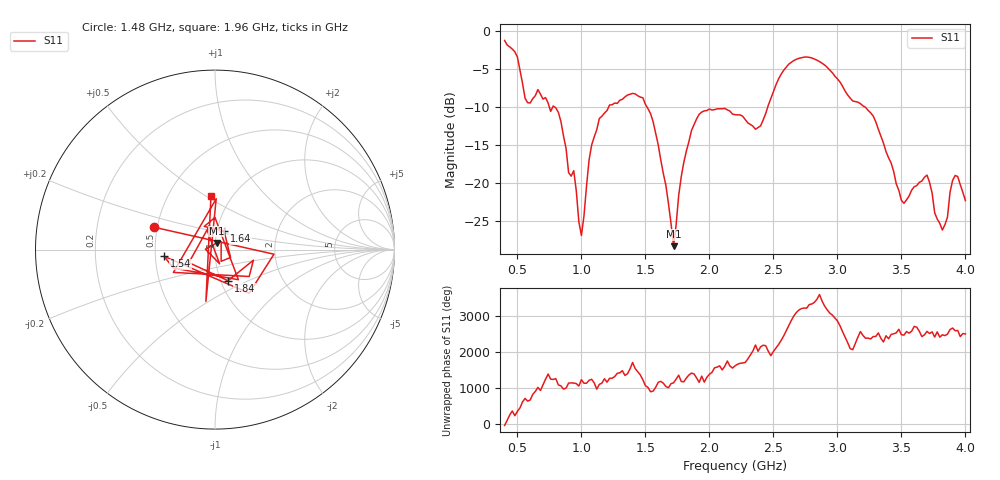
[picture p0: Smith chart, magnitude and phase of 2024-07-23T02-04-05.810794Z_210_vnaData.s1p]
!Created with skrf (http://scikit-rf.org).
# Hz S RI R 50.0
!freq ReS11 ImS11
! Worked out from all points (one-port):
!   181 points, 400 MHz to 4 GHz, reference 50 ohm
!   lowest |S11| = -28.2 dB at 1.72 GHz (marker M1), VSWR 1.08, Z = 50.9 + j3.81 ohm
!   |S11| at or under -10 dB: 791.3 MHz to 1.213 GHz (421.5 MHz wide, 42.1 % of centre); 1.513 GHz to 2.456 GHz (943.2 MHz wide, 47.5 % of centre); 3.216 GHz to end of sweep (the widest 3 of 4)
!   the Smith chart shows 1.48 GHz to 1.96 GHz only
!   S11 on the Smith chart (normalised r, x): 1.48 GHz: 0.48, +0.14; 1.54 GHz: 0.56, -0.05; 1.64 GHz: 1.08, +0.23; 1.84 GHz: 1.08, -0.39; 1.96 GHz: 0.80, +0.53
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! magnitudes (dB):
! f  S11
! 400 MHz  -1.3
! 500 MHz  -3.4
! 580 MHz  -9.4
! 660 MHz  -7.7
! 860 MHz  -13.8
! 900 MHz  -18.6
! 940 MHz  -18.3
! 1 GHz  -26.8
! 1.08 GHz  -15.0
! 1.3 GHz  -9.1
! 1.48 GHz  -8.8
! 1.54 GHz  -10.9
! 1.64 GHz  -18.7
! 1.72 GHz  -28.2
! 1.76 GHz  -21.6
! 1.84 GHz  -14.5
! 1.96 GHz  -10.5
! 2.2 GHz  -11.0
! 2.4 GHz  -12.5
! 2.66 GHz  -3.9
! 3.1 GHz  -8.8
! 3.28 GHz  -11.2
! 3.5 GHz  -22.2
! 3.56 GHz  -21.7
! 3.7 GHz  -18.9
! 3.82 GHz  -26.1
! 3.92 GHz  -19.0
! 4 GHz  -22.3
